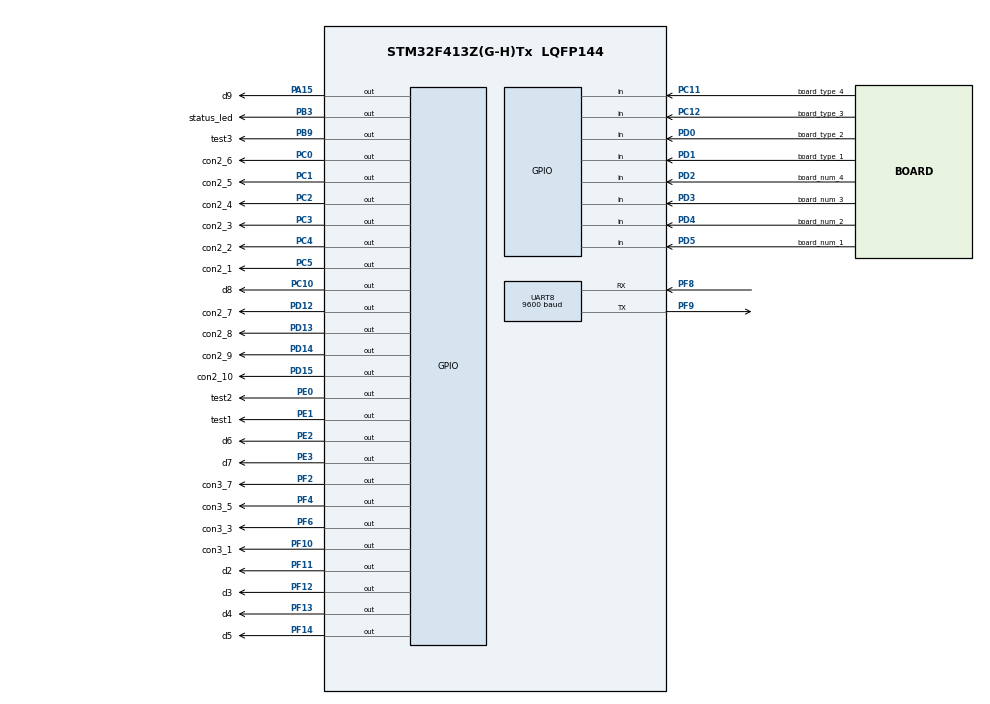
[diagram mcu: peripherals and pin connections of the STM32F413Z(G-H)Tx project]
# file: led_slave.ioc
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Mcu.Family=STM32F4
Mcu.Name=STM32F413Z(G-H)Tx
Mcu.Package=LQFP144
NVIC.PriorityGroup=NVIC_PRIORITYGROUP_4
NVIC.UART8_IRQn=true\:0\:0\:false\:false\:true\:true\:true
PA13.Mode=Serial_Wire
PA13.Signal=SYS_JTMS-SWDIO
PA14.Mode=Serial_Wire
PA14.Signal=SYS_JTCK-SWCLK
PA15.GPIO_Label=d9
PA15.Signal=GPIO_Output
PB3.GPIO_Label=status_led
PB3.Signal=GPIO_Output
PB9.GPIO_Label=test3
PB9.Signal=GPIO_Output
PC0.GPIO_Label=con2_6
PC0.GPIO_PuPd=GPIO_PULLDOWN
PC0.Signal=GPIO_Output
PC1.GPIO_Label=con2_5
PC1.GPIO_PuPd=GPIO_PULLDOWN
PC1.Signal=GPIO_Output
PC10.GPIO_Label=d8
PC10.Signal=GPIO_Output
PC11.GPIO_Label=board_type_4
PC11.Signal=GPIO_Input
PC12.GPIO_Label=board_type_3
PC12.Signal=GPIO_Input
PC14-OSC32_IN.Mode=LSE-External-Oscillator
PC14-OSC32_IN.Signal=RCC_OSC32_IN
PC15-OSC32_OUT.Mode=LSE-External-Oscillator
PC15-OSC32_OUT.Signal=RCC_OSC32_OUT
PC2.GPIO_Label=con2_4
PC2.GPIO_PuPd=GPIO_PULLDOWN
PC2.Signal=GPIO_Output
PC3.GPIO_Label=con2_3
PC3.Signal=GPIO_Output
PC4.GPIO_Label=con2_2
PC4.Signal=GPIO_Output
PC5.GPIO_Label=con2_1
PC5.Signal=GPIO_Output
PD0.GPIO_Label=board_type_2
PD0.Signal=GPIO_Input
PD1.GPIO_Label=board_type_1
PD1.Signal=GPIO_Input
PD12.GPIO_Label=con2_7
PD12.GPIO_PuPd=GPIO_PULLDOWN
PD12.Signal=GPIO_Output
PD13.GPIO_Label=con2_8
PD13.GPIO_PuPd=GPIO_PULLDOWN
PD13.Signal=GPIO_Output
PD14.GPIO_Label=con2_9
PD14.GPIO_PuPd=GPIO_PULLDOWN
PD14.Signal=GPIO_Output
PD15.GPIO_Label=con2_10
PD15.GPIO_PuPd=GPIO_PULLDOWN
PD15.Signal=GPIO_Output
PD2.GPIO_Label=board_num_4
PD2.Signal=GPIO_Input
PD3.GPIO_Label=board_num_3
PD3.Signal=GPIO_Input
PD4.GPIO_Label=board_num_2
PD4.Signal=GPIO_Input
PD5.GPIO_Label=board_num_1
PD5.Signal=GPIO_Input
PD8.GPIO_Label=uart_tx
PD8.Signal=USART3_TX
PD9.GPIO_Label=uat_rx
PD9.Signal=USART3_RX
PE0.GPIO_Label=test2
PE0.Signal=GPIO_Output
PE1.GPIO_Label=test1
PE1.Signal=GPIO_Output
PE2.GPIO_Label=d6
PE2.Signal=GPIO_Output
PE3.GPIO_Label=d7
PE3.Signal=GPIO_Output
PF10.GPIO_Label=con3_1
PF10.Signal=GPIO_Output
PF11.GPIO_Label=d2
PF11.Signal=GPIO_Output
PF12.GPIO_Label=d3
PF12.Signal=GPIO_Output
PF13.GPIO_Label=d4
PF13.Signal=GPIO_Output
PF14.GPIO_Label=d5
PF14.Signal=GPIO_Output
PF2.GPIO_Label=con3_7
PF2.Signal=GPIO_Output
PF4.GPIO_Label=con3_5
PF4.Signal=GPIO_Output
PF6.GPIO_Label=con3_3
PF6.Signal=GPIO_Output
PF8.Mode=Asynchronous
PF8.Signal=UART8_RX
PF9.Mode=Asynchronous
PF9.Signal=UART8_TX
ProjectManager.HeapSize=0x200
ProjectManager.StackSize=0x400
ProjectManager.TargetToolchain=STM32CubeIDE
RCC.CortexFreq_Value=16000000
RCC.USBFreq_Value=96000000
RCC.VCOOutputFreq_Value=192000000
UART8.BaudRate=9600
UART8.VirtualMode=Asynchronous
board=custom

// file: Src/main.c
/* USER CODE BEGIN Header */
/**
/*
 * LEDS
 */
/* USER CODE END Header */

#include "main.h"

/* USER CODE BEGIN Includes */
#include "PIN_DEFS.h"
#include "STRUCTS.h"
/* USER CODE END Includes */

/* USER CODE BEGIN PD */
#define HIGH 				2
#define LOW 				1

#define MAX_TICKER_VALUE 	4294967295
#define LED_SCALER			100000
/* USER CODE END PD */

UART_HandleTypeDef huart8;

void SystemClock_Config(void);
static void MX_GPIO_Init(void);
static void MX_UART8_Init(void);

/* USER CODE BEGIN 0 */
uint32_t ticker = 0;
union data_in data;

void HAL_UART_RxCpltCallback(UART_HandleTypeDef *huart)
{
	if(huart->Instance==UART8)
	{

		if (data.info_in.board_add == con2_4_HWAdd)
		{
			if (data.info_in.state == HIGH) HAL_GPIO_WritePin(GPIOC, con2_4_Pin, GPIO_PIN_SET);
			if (data.info_in.state == LOW) HAL_GPIO_WritePin(GPIOC, con2_4_Pin, GPIO_PIN_RESET);
		}

		if (data.info_in.board_add == con2_5_HWAdd)
		{
			if (data.info_in.state == HIGH) HAL_GPIO_WritePin(GPIOC, con2_5_Pin, GPIO_PIN_SET);
			if (data.info_in.state == LOW) HAL_GPIO_WritePin(GPIOC, con2_5_Pin, GPIO_PIN_RESET);
		}

		if (data.info_in.board_add == con2_6_HWAdd)
		{
			if (data.info_in.state == HIGH) HAL_GPIO_WritePin(GPIOC, con2_6_Pin, GPIO_PIN_SET);
			if (data.info_in.state == LOW) HAL_GPIO_WritePin(GPIOC, con2_5_Pin, GPIO_PIN_RESET);
		}

		if (data.info_in.board_add == con2_7_HWAdd)
		{
			if (data.info_in.state == HIGH) HAL_GPIO_WritePin(GPIOD, con2_7_Pin, GPIO_PIN_SET);
			if (data.info_in.state == LOW) HAL_GPIO_WritePin(GPIOD, con2_7_Pin, GPIO_PIN_RESET);
		}

		if (data.info_in.board_add == con2_8_HWAdd)
		{
			if (data.info_in.state == HIGH) HAL_GPIO_WritePin(GPIOD, con2_8_Pin, GPIO_PIN_SET);
			if (data.info_in.state == LOW) HAL_GPIO_WritePin(GPIOD, con2_8_Pin, GPIO_PIN_RESET);
		}

		if (data.info_in.board_add == con2_9_HWAdd)
		{
			if (data.info_in.state == HIGH) HAL_GPIO_WritePin(GPIOD, con2_9_Pin, GPIO_PIN_SET);
			if (data.info_in.state == LOW) HAL_GPIO_WritePin(GPIOD, con2_9_Pin, GPIO_PIN_RESET);
		}

		if (data.info_in.board_add == con2_10_HWAdd)
		{
			if (data.info_in.state == HIGH) HAL_GPIO_WritePin(GPIOD, con2_10_Pin, GPIO_PIN_SET);
			if (data.info_in.state == LOW) HAL_GPIO_WritePin(GPIOD, con2_10_Pin, GPIO_PIN_RESET);
		}

	}

	else {
		__NOP();
	}

}

/* USER CODE END 0 */

int main(void)
{

  /* MCU Configuration--------------------------------------------------------*/

  /* Reset of all peripherals, Initializes the Flash interface and the Systick. */
  HAL_Init();

  /* Configure the system clock */
  SystemClock_Config();

  /* Initialize all configured peripherals */
  MX_GPIO_Init();
  MX_UART8_Init();

  /* Infinite loop */
  /* USER CODE BEGIN WHILE */
  while (1)
  {
	  // UART RX interrupts
	  HAL_UART_Receive_IT(&huart8, data.info_in_buffer, 3);

	  //Status LED
	  ticker++;
	  if (ticker % LED_SCALER == 0) HAL_GPIO_TogglePin(status_led_GPIO_Port, status_led_Pin);

	  if (ticker == MAX_TICKER_VALUE) ticker = 0;

	  //Dip switches linked to LEDs
	  (HAL_GPIO_ReadPin(GPIOD, board_type_1_Pin) == 0) ? HAL_GPIO_WritePin(GPIOE, d6_Pin, GPIO_PIN_RESET) :
			  	  HAL_GPIO_WritePin(GPIOE, d6_Pin, GPIO_PIN_SET);

	  (HAL_GPIO_ReadPin(GPIOD, board_type_2_Pin) == 0) ? HAL_GPIO_WritePin(GPIOE, d7_Pin, GPIO_PIN_RESET) :
		  	  HAL_GPIO_WritePin(GPIOE, d7_Pin, GPIO_PIN_SET);

	  (HAL_GPIO_ReadPin(GPIOC, board_type_3_Pin) == 0) ? HAL_GPIO_WritePin(GPIOA, d8_Pin, GPIO_PIN_RESET) :
		  	  HAL_GPIO_WritePin(GPIOA, d8_Pin, GPIO_PIN_SET);

	  (HAL_GPIO_ReadPin(GPIOC, board_type_4_Pin) == 0) ? HAL_GPIO_WritePin(GPIOC, d9_Pin, GPIO_PIN_RESET) :
		  	  HAL_GPIO_WritePin(GPIOC, d9_Pin, GPIO_PIN_SET);

	  (HAL_GPIO_ReadPin(GPIOD, board_num_1_Pin) == 0) ? HAL_GPIO_WritePin(GPIOF, d5_Pin, GPIO_PIN_RESET) :
		  	  HAL_GPIO_WritePin(GPIOF, d5_Pin, GPIO_PIN_SET);

	  (HAL_GPIO_ReadPin(GPIOD, board_num_2_Pin) == 0) ? HAL_GPIO_WritePin(GPIOF, d4_Pin, GPIO_PIN_RESET) :
		  	  HAL_GPIO_WritePin(GPIOF, d4_Pin, GPIO_PIN_SET);

	  (HAL_GPIO_ReadPin(GPIOD, board_num_3_Pin) == 0) ? HAL_GPIO_WritePin(GPIOF, d3_Pin, GPIO_PIN_RESET) :
		  	  HAL_GPIO_WritePin(GPIOF, d3_Pin, GPIO_PIN_SET);

	  (HAL_GPIO_ReadPin(GPIOD, board_num_4_Pin) == 0) ? HAL_GPIO_WritePin(GPIOF, d2_Pin, GPIO_PIN_RESET) :
	  		  HAL_GPIO_WritePin(GPIOF, d2_Pin, GPIO_PIN_SET);

    /* USER CODE END WHILE */

  }
}

void SystemClock_Config(void)
{
  RCC_OscInitTypeDef RCC_OscInitStruct = {0};
  RCC_ClkInitTypeDef RCC_ClkInitStruct = {0};

  /** Configure the main internal regulator output voltage
  */
  __HAL_RCC_PWR_CLK_ENABLE();
  __HAL_PWR_VOLTAGESCALING_CONFIG(PWR_REGULATOR_VOLTAGE_SCALE1);
  /** Initializes the CPU, AHB and APB busses clocks
  */
  RCC_OscInitStruct.OscillatorType = RCC_OSCILLATORTYPE_HSI;
  RCC_OscInitStruct.HSIState = RCC_HSI_ON;
  RCC_OscInitStruct.HSICalibrationValue = RCC_HSICALIBRATION_DEFAULT;
  RCC_OscInitStruct.PLL.PLLState = RCC_PLL_NONE;
  if (HAL_RCC_OscConfig(&RCC_OscInitStruct) != HAL_OK)
  {
    Error_Handler();
  }
  /** Initializes the CPU, AHB and APB busses clocks
  */
  RCC_ClkInitStruct.ClockType = RCC_CLOCKTYPE_HCLK|RCC_CLOCKTYPE_SYSCLK
                              |RCC_CLOCKTYPE_PCLK1|RCC_CLOCKTYPE_PCLK2;
  RCC_ClkInitStruct.SYSCLKSource = RCC_SYSCLKSOURCE_HSI;
  RCC_ClkInitStruct.AHBCLKDivider = RCC_SYSCLK_DIV1;
  RCC_ClkInitStruct.APB1CLKDivider = RCC_HCLK_DIV1;
  RCC_ClkInitStruct.APB2CLKDivider = RCC_HCLK_DIV1;

  if (HAL_RCC_ClockConfig(&RCC_ClkInitStruct, FLASH_LATENCY_0) != HAL_OK)
  {
    Error_Handler();
  }
}

static void MX_UART8_Init(void)
{

  huart8.Instance = UART8;
  huart8.Init.BaudRate = 9600;
  huart8.Init.WordLength = UART_WORDLENGTH_8B;
  huart8.Init.StopBits = UART_STOPBITS_1;
  huart8.Init.Parity = UART_PARITY_NONE;
  huart8.Init.Mode = UART_MODE_TX_RX;
  huart8.Init.HwFlowCtl = UART_HWCONTROL_NONE;
  huart8.Init.OverSampling = UART_OVERSAMPLING_16;
  if (HAL_UART_Init(&huart8) != HAL_OK)
  {
    Error_Handler();
  }

}

static void MX_GPIO_Init(void)
{
  GPIO_InitTypeDef GPIO_InitStruct = {0};

  /* GPIO Ports Clock Enable */
  __HAL_RCC_GPIOE_CLK_ENABLE();
  __HAL_RCC_GPIOC_CLK_ENABLE();
  __HAL_RCC_GPIOF_CLK_ENABLE();
  __HAL_RCC_GPIOD_CLK_ENABLE();
  __HAL_RCC_GPIOA_CLK_ENABLE();
  __HAL_RCC_GPIOB_CLK_ENABLE();

  /*Configure GPIO pin Output Level */
  HAL_GPIO_WritePin(GPIOE, d6_Pin|d7_Pin|test2_Pin|test1_Pin, GPIO_PIN_RESET);

  /*Configure GPIO pin Output Level */
  HAL_GPIO_WritePin(GPIOF, con3_7_Pin|con3_5_Pin|con3_3_Pin|con3_1_Pin
                          |d2_Pin|d3_Pin|d4_Pin|d5_Pin, GPIO_PIN_RESET);

  /*Configure GPIO pin Output Level */
  HAL_GPIO_WritePin(GPIOC, con2_6_Pin|con2_5_Pin|con2_4_Pin|con2_3_Pin
                          |con2_2_Pin|con2_1_Pin|d8_Pin, GPIO_PIN_RESET);

  /*Configure GPIO pin Output Level */
  HAL_GPIO_WritePin(GPIOD, con2_7_Pin|con2_8_Pin|con2_9_Pin|con2_10_Pin, GPIO_PIN_RESET);

  /*Configure GPIO pin Output Level */
  HAL_GPIO_WritePin(d9_GPIO_Port, d9_Pin, GPIO_PIN_RESET);

  /*Configure GPIO pin Output Level */
  HAL_GPIO_WritePin(GPIOB, status_led_Pin|test3_Pin, GPIO_PIN_RESET);

  /*Configure GPIO pins : d6_Pin d7_Pin test2_Pin test1_Pin */
  GPIO_InitStruct.Pin = d6_Pin|d7_Pin|test2_Pin|test1_Pin;
  GPIO_InitStruct.Mode = GPIO_MODE_OUTPUT_PP;
  GPIO_InitStruct.Pull = GPIO_NOPULL;
  GPIO_InitStruct.Speed = GPIO_SPEED_FREQ_LOW;
  HAL_GPIO_Init(GPIOE, &GPIO_InitStruct);

  /*Configure GPIO pins : con3_7_Pin con3_5_Pin con3_3_Pin con3_1_Pin
                           d2_Pin d3_Pin d4_Pin d5_Pin */
  GPIO_InitStruct.Pin = con3_7_Pin|con3_5_Pin|con3_3_Pin|con3_1_Pin
                          |d2_Pin|d3_Pin|d4_Pin|d5_Pin;
  GPIO_InitStruct.Mode = GPIO_MODE_OUTPUT_PP;
  GPIO_InitStruct.Pull = GPIO_NOPULL;
  GPIO_InitStruct.Speed = GPIO_SPEED_FREQ_LOW;
  HAL_GPIO_Init(GPIOF, &GPIO_InitStruct);

  /*Configure GPIO pins : con2_6_Pin con2_5_Pin con2_4_Pin */
  GPIO_InitStruct.Pin = con2_6_Pin|con2_5_Pin|con2_4_Pin;
  GPIO_InitStruct.Mode = GPIO_MODE_OUTPUT_PP;
  GPIO_InitStruct.Pull = GPIO_PULLDOWN;
  GPIO_InitStruct.Speed = GPIO_SPEED_FREQ_LOW;
  HAL_GPIO_Init(GPIOC, &GPIO_InitStruct);

  /*Configure GPIO pins : con2_3_Pin con2_2_Pin con2_1_Pin d8_Pin */
  GPIO_InitStruct.Pin = con2_3_Pin|con2_2_Pin|con2_1_Pin|d8_Pin;
  GPIO_InitStruct.Mode = GPIO_MODE_OUTPUT_PP;
  GPIO_InitStruct.Pull = GPIO_NOPULL;
  GPIO_InitStruct.Speed = GPIO_SPEED_FREQ_LOW;
  HAL_GPIO_Init(GPIOC, &GPIO_InitStruct);

  /*Configure GPIO pins : uart_tx_Pin uat_rx_Pin */
  GPIO_InitStruct.Pin = uart_tx_Pin|uat_rx_Pin;
  GPIO_InitStruct.Mode = GPIO_MODE_AF_PP;
  GPIO_InitStruct.Pull = GPIO_NOPULL;
  GPIO_InitStruct.Speed = GPIO_SPEED_FREQ_VERY_HIGH;
  GPIO_InitStruct.Alternate = GPIO_AF7_USART3;
  HAL_GPIO_Init(GPIOD, &GPIO_InitStruct);

  /*Configure GPIO pins : con2_7_Pin con2_8_Pin con2_9_Pin con2_10_Pin */
  GPIO_InitStruct.Pin = con2_7_Pin|con2_8_Pin|con2_9_Pin|con2_10_Pin;
  GPIO_InitStruct.Mode = GPIO_MODE_OUTPUT_PP;
  GPIO_InitStruct.Pull = GPIO_PULLDOWN;
  GPIO_InitStruct.Speed = GPIO_SPEED_FREQ_LOW;
  HAL_GPIO_Init(GPIOD, &GPIO_InitStruct);

  /*Configure GPIO pin : d9_Pin */
  GPIO_InitStruct.Pin = d9_Pin;
  GPIO_InitStruct.Mode = GPIO_MODE_OUTPUT_PP;
  GPIO_InitStruct.Pull = GPIO_NOPULL;
  GPIO_InitStruct.Speed = GPIO_SPEED_FREQ_LOW;
  HAL_GPIO_Init(d9_GPIO_Port, &GPIO_InitStruct);

  /*Configure GPIO pins : board_type_4_Pin board_type_3_Pin */
  GPIO_InitStruct.Pin = board_type_4_Pin|board_type_3_Pin;
  GPIO_InitStruct.Mode = GPIO_MODE_INPUT;
  GPIO_InitStruct.Pull = GPIO_NOPULL;
  HAL_GPIO_Init(GPIOC, &GPIO_InitStruct);

  /*Configure GPIO pins : board_type_2_Pin board_type_1_Pin board_num_4_Pin board_num_3_Pin
                           board_num_2_Pin board_num_1_Pin */
  GPIO_InitStruct.Pin = board_type_2_Pin|board_type_1_Pin|board_num_4_Pin|board_num_3_Pin
                          |board_num_2_Pin|board_num_1_Pin;
  GPIO_InitStruct.Mode = GPIO_MODE_INPUT;
  GPIO_InitStruct.Pull = GPIO_NOPULL;
  HAL_GPIO_Init(GPIOD, &GPIO_InitStruct);

  /*Configure GPIO pins : status_led_Pin test3_Pin */
  GPIO_InitStruct.Pin = status_led_Pin|test3_Pin;
  GPIO_InitStruct.Mode = GPIO_MODE_OUTPUT_PP;
  GPIO_InitStruct.Pull = GPIO_NOPULL;
  GPIO_InitStruct.Speed = GPIO_SPEED_FREQ_LOW;
  HAL_GPIO_Init(GPIOB, &GPIO_InitStruct);

}

void Error_Handler(void)
{
}

/************************ (C) COPYRIGHT STMicroelectronics *****END OF FILE****/
